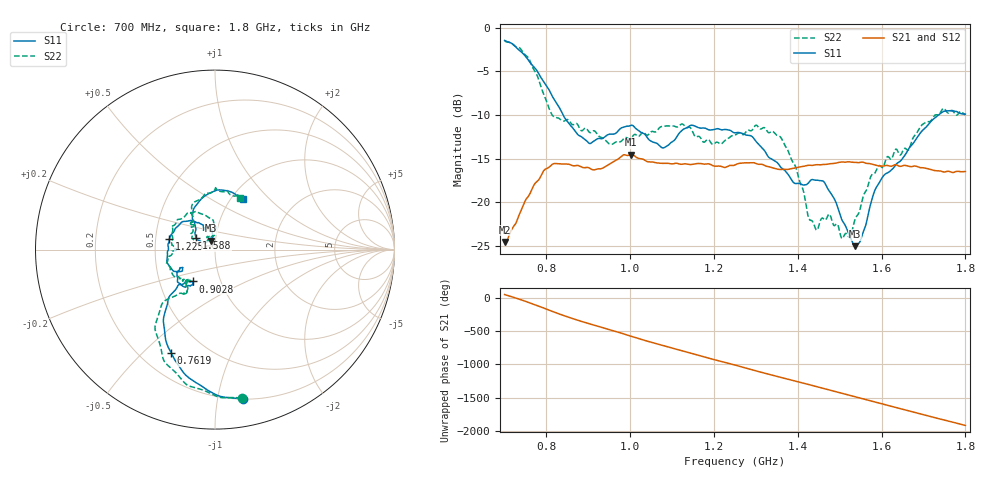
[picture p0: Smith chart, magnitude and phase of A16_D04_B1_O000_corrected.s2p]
! Created with skrf 1.9.0 (http://scikit-rf.org).
# Hz S RI R 50.0
!freq ReS11 ImS11 ReS21 ImS21 ReS12 ImS12 ReS22 ImS22
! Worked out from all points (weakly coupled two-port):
!   1601 points, 700 MHz to 1.8 GHz, reference 50 ohm
!   highest |S21| = -14.56 dB at 1.002 GHz (marker M1); lowest = -24.6 dB at 701.4 MHz (marker M2)
!   lowest |S11| = -25.1 dB at 1.537 GHz (marker M3), VSWR 1.12, Z = 47.5 + j4.83 ohm
!   |S11| at or under -10 dB: 839.7 MHz to 1.736 GHz (896.1 MHz wide, 69.6 % of centre)
!   |S22| runs from -24.2 to -1.5 dB; largest |S21 - S12| = 0.0035
!   S11 on the Smith chart (normalised r, x): 700 MHz: 0.20, -1.19; 761.9 MHz: 0.32, -0.61; 902.8 MHz: 0.74, -0.27; 1.225 GHz: 0.59, +0.08; 1.588 GHz: 0.80, +0.10; 1.8 GHz: 1.13, +0.71
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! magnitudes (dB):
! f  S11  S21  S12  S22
! 700 MHz  -1.4  -24.6  -24.4  -1.5
! 701.4 MHz  -1.5  -24.6  -24.2  -1.5
! 761.9 MHz  -4.1  -18.9  -18.8  -3.9
! 814.1 MHz  -7.9  -15.7  -15.7  -10.0
! 883.6 MHz  -12.5  -16.0  -15.9  -11.8
! 902.8 MHz  -13.3  -16.1  -16.1  -12.0
! 1.002 GHz  -11.2  -14.6  -14.7  -12.6
! 1.067 GHz  -13.4  -15.5  -15.5  -11.6
! 1.145 GHz  -11.2  -15.7  -15.7  -11.5
! 1.225 GHz  -11.7  -16.0  -16.0  -13.0
! 1.25 GHz  -12.0  -15.7  -15.7  -12.3
! 1.301 GHz  -13.1  -15.6  -15.5  -11.2
! 1.359 GHz  -16.0  -16.3  -16.2  -12.5
! 1.395 GHz  -17.9  -16.1  -16.1  -16.0
! 1.434 GHz  -17.4  -15.8  -15.7  -22.2
! 1.476 GHz  -18.8  -15.6  -15.6  -21.4
! 1.507 GHz  -22.2  -15.4  -15.4  -24.2
! 1.537 GHz  -25.1  -15.4  -15.4  -22.0
! 1.588 GHz  -18.2  -15.8  -15.8  -16.3
! 1.617 GHz  -16.6  -15.8  -15.8  -14.8
! 1.738 GHz  -9.9  -16.4  -16.5  -9.9
! 1.8 GHz  -9.9  -16.5  -16.5  -10.0
